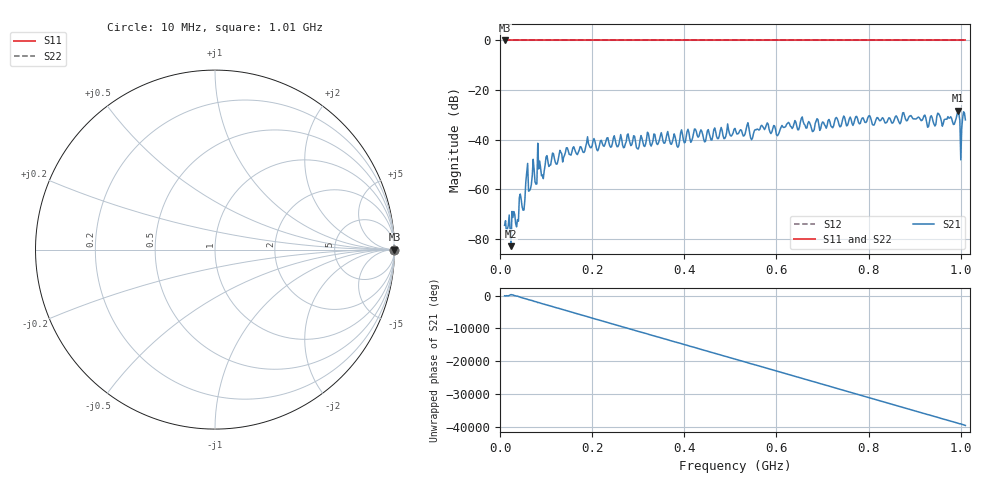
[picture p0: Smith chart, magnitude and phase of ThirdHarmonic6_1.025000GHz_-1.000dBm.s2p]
! 8/16/2025 8:40:03 AM
! C:\ANRITSUVNA\TEMP\TEMP.S2P
! CHANNEL.1
! TR.MEASUREMENT
! RAW.DATA
! RF.CORRECTION.OFF
! AVERAGING.OFF
! IF.BANDWIDTH: 5KHZ
! SWEEPTYPE:  FREQ.SWEEP(Linear)
! Reference Plane Port Info
! PORT:  PORT1  PORT2
! DISTANCE:  0  m  0  m
! TIME:  0  s  0  s
! PHASE.OFFSET:  0  deg.  0  deg.
! LOSS:  0  dB  0  dB
! REF.LOSS:  0  dB  0  dB
! REF.FREQ:  0  Hz  0  Hz
! Power Info
! POWER:  -20  dBm  -20  dBm
! EFF.POWER:  -20  dBm  -20  dBm
! SOURCE.ATTEN:  0  dB  0  dB
! TEST.ATTEN:  0  dB  0  dB
# GHZ S RI R 50.0
! FREQ.GHZ  S11RE  S11IM  S21RE  S21IM  S12RE  S12IM  S22RE  S22IM
!; PortSelection: Port_12
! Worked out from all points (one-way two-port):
!   501 points, 10 MHz to 1.01 GHz, reference 50 ohm
!   highest |S21| = -28.39 dB at 994 MHz (marker M1); lowest = -83.0 dB at 24 MHz (marker M2)
!   lowest |S11| = 0.0 dB at 10 MHz (marker M3)
!   |S11| at or under -10 dB: nowhere
!   |S22| runs from 0.0 to 0.0 dB; largest |S21 - S12| = 1
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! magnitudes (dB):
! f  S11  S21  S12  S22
! 10 MHz  0.0  -74.6  0.0  0.0
! 24 MHz  0.0  -83.0  0.0  0.0
! 36 MHz  0.0  -75.2  0.0  0.0
! 44 MHz  0.0  -61.9  0.0  0.0
! 52 MHz  0.0  -68.4  0.0  0.0
! 58 MHz  0.0  -53.3  0.0  0.0
! 66 MHz  0.0  -60.0  0.0  0.0
! 86 MHz  0.0  -48.6  0.0  0.0
! 92 MHz  0.0  -54.2  0.0  0.0
! 102 MHz  0.0  -46.5  0.0  0.0
! 178 MHz  0.0  -43.9  0.0  0.0
! 344 MHz  0.0  -41.3  0.0  0.0
! 510 MHz  0.0  -35.5  0.0  0.0
! 580 MHz  0.0  -33.2  0.0  0.0
! 604 MHz  0.0  -37.9  0.0  0.0
! 656 MHz  0.0  -30.9  0.0  0.0
! 678 MHz  0.0  -36.8  0.0  0.0
! 688 MHz  0.0  -31.6  0.0  0.0
! 844 MHz  0.0  -31.2  0.0  0.0
! 994 MHz  0.0  -28.4  0.0  0.0
! 1 GHz  0.0  -48.2  0.0  0.0
! 1.01 GHz  0.0  -32.0  0.0  0.0
